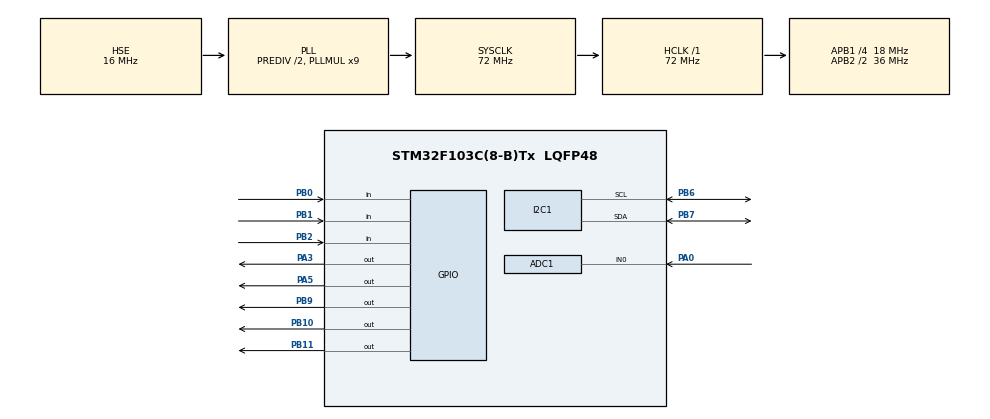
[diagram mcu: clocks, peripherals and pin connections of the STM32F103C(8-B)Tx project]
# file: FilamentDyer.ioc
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ADC1.Channel-0\#ChannelRegularConversion=ADC_CHANNEL_0
ADC1.NbrOfConversionFlag=1
ADC1.Rank-0\#ChannelRegularConversion=1
ADC1.SamplingTime-0\#ChannelRegularConversion=ADC_SAMPLETIME_1CYCLE_5
ADC1.master=1
I2C1.I2C_Mode=I2C_Fast
Mcu.Family=STM32F1
Mcu.Name=STM32F103C(8-B)Tx
Mcu.Package=LQFP48
NVIC.PriorityGroup=NVIC_PRIORITYGROUP_4
NVIC.TIM3_IRQn=true\:5\:0\:true\:false\:true\:true\:true\:true
NVIC.TIM4_IRQn=true\:15\:0\:false\:false\:true\:false\:true\:true
NVIC.TimeBase=TIM4_IRQn
NVIC.TimeBaseIP=TIM4
PA0-WKUP.Signal=ADCx_IN0
PA13.Mode=Serial_Wire
PA13.Signal=SYS_JTMS-SWDIO
PA14.Mode=Serial_Wire
PA14.Signal=SYS_JTCK-SWCLK
PA3.Signal=GPIO_Output
PA5.Signal=GPIO_Output
PB0.Signal=GPIO_Input
PB1.Signal=GPIO_Input
PB10.Signal=GPIO_Output
PB11.Signal=GPIO_Output
PB2.Signal=GPIO_Input
PB6.Mode=I2C
PB6.Signal=I2C1_SCL
PB7.Mode=I2C
PB7.Signal=I2C1_SDA
PB9.Signal=GPIO_Output
PD0-OSC_IN.Mode=HSE-External-Oscillator
PD0-OSC_IN.Signal=RCC_OSC_IN
PD1-OSC_OUT.Mode=HSE-External-Oscillator
PD1-OSC_OUT.Signal=RCC_OSC_OUT
ProjectManager.HeapSize=0x200
ProjectManager.StackSize=0x400
ProjectManager.TargetToolchain=STM32CubeIDE
RCC.ADCPresc=RCC_ADCPCLK2_DIV6
RCC.AHBFreq_Value=72000000
RCC.APB1CLKDivider=RCC_HCLK_DIV4
RCC.APB1Freq_Value=18000000
RCC.APB1TimFreq_Value=36000000
RCC.APB2CLKDivider=RCC_HCLK_DIV2
RCC.APB2Freq_Value=36000000
RCC.APB2TimFreq_Value=72000000
RCC.DATA_CACHE_ENABLE=0
RCC.HCLKFreq_Value=72000000
RCC.HSEDivPLL=RCC_HSE_PREDIV_DIV2
RCC.HSE_VALUE=16000000
RCC.HSI14CalibrationValue=16
RCC.INSTRUCTION_CACHE_ENABLE=0
RCC.PLLMUL=RCC_PLL_MUL9
RCC.PLLSourceVirtual=RCC_PLLSOURCE_HSE
RCC.SYSCLKFreq_VALUE=72000000
RCC.SYSCLKSource=RCC_SYSCLKSOURCE_PLLCLK
RCC.USBFreq_Value=72000000
SH.ADCx_IN0.0=ADC1_IN0,IN0
TIM3.Period=2823 - 1
TIM3.Prescaler=100
TIM3.TIM_MasterOutputTrigger=TIM_TRGO_RESET
VP_SYS_VS_tim4.Mode=TIM4
VP_TIM3_VS_ClockSourceINT.Mode=Internal
board=custom

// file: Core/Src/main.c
/* USER CODE BEGIN Header */
/**
  ******************************************************************************
  * @file           : main.c
  * @brief          : Main program body
  ******************************************************************************
  * @attention
  *
  * Copyright (c) 2024 STMicroelectronics.
  * All rights reserved.
  *
  * This software is licensed under terms that can be found in the LICENSE file
  * in the root directory of this software component.
  * If no LICENSE file comes with this software, it is provided AS-IS.
  *
  ******************************************************************************
  */
/* USER CODE END Header */
#include "main.h"

/* USER CODE BEGIN Includes */
#include "Thermistor.h"
#include "ssd1306.h"
#include "ssd1306_fonts.h"
#include "PID.h"
#include <stdbool.h>
/* USER CODE END Includes */

/* USER CODE BEGIN PD */

#define GPIO_LED GPIOB
#define PIN_LED_R GPIOB, GPIO_PIN_9
#define PIN_LED_G GPIOB, GPIO_PIN_10
#define PIN_LED_B GPIOB, GPIO_PIN_11

#define GPIO_BUTTON GPIOB
#define PIN_BUTTON_SELECT GPIOB, GPIO_PIN_0
#define PIN_BUTTON_LEFT GPIOB, GPIO_PIN_1
#define PIN_BUTTON_RIGHT GPIOB, GPIO_PIN_2

#define GPIO_HEATER GPIOA
#define PIN_HEATER GPIOA, GPIO_PIN_5
#define PIN_FAN GPIO_PIN_3

#define MAX_TEMP 80

#define DISP_FREQ 50 // Frequency of the display refreshing in milliseconds
#define CALC_FREQ 10 // Frequency of the thermal and input procesing in milliseconds.
/* USER CODE END PD */

ADC_HandleTypeDef hadc1;

I2C_HandleTypeDef hi2c1;

TIM_HandleTypeDef htim3;

/* USER CODE BEGIN PV */

typedef struct {
	uint8_t poll;
	uint32_t last_press;
} button;
#define INIT_BUTTON(X) button X = {.poll = 0, .last_press = 0}
INIT_BUTTON(button_left);
INIT_BUTTON(button_right);
INIT_BUTTON(button_select);

uint8_t PWM_Counter = 0;
uint8_t PWM_Value = 0;

float targetTemp = 0.0;

char *filament_names[] = {"PLA", "PETG/ABS", "Nylon"};
float filament_temps[] = {55.0f, 65.0f, 75.0f};
uint8_t menu_index = 0;
int menu_num = 0;
uint8_t menu_size = 0;

char text[10];

enum {
		MAIN_MENU,
		HEATING
} program_state;

uint32_t last_screen_update = 0, last_math_update = 0;
/* USER CODE END PV */

void SystemClock_Config(void);
static void MX_GPIO_Init(void);
static void MX_I2C1_Init(void);
static void MX_ADC1_Init(void);
static void MX_TIM3_Init(void);
/* USER CODE BEGIN PFP */

static inline void HEATERPWM_Process();
static inline void HEATERPWM_SET(uint16_t duty_cycle);
static inline bool is_pressed(button button);
static inline void update_screen();
static inline void update_inputs();
static inline void Therm_Process();
static inline uint32_t since_last(uint32_t last_time);

/* USER CODE END PFP */

int main(void)
{

  /* MCU Configuration--------------------------------------------------------*/

  /* Reset of all peripherals, Initializes the Flash interface and the Systick. */
  HAL_Init();

  /* Configure the system clock */
  SystemClock_Config();

  /* Initialize all configured peripherals */
  MX_GPIO_Init();
  MX_I2C1_Init();
  MX_ADC1_Init();
  MX_TIM3_Init();
  /* USER CODE BEGIN 2 */
  // Initialize TIM3 for low frequency PWM heater
  HAL_TIM_Base_Start_IT(&htim3);

  HAL_GPIO_WritePin(PIN_LED_R, GPIO_PIN_SET);
  HAL_GPIO_WritePin(PIN_LED_G, GPIO_PIN_SET);
  HAL_GPIO_WritePin(PIN_LED_B, GPIO_PIN_SET);

  HAL_Delay(1000); // Wait for power supply to stabilize
  HAL_ADCEx_Calibration_Start(&hadc1);

  Thermistor_Init();
  ssd1306_Init();

  // Menu Init.
  program_state = MAIN_MENU;
  menu_size = sizeof(filament_names)/sizeof(filament_names[0]);

  /* USER CODE END 2 */

  /* Infinite loop */
  /* USER CODE BEGIN WHILE */
  while (1)
  {
	  if(since_last(last_screen_update) >= DISP_FREQ) { // Update screen everyy 50ms
		  update_screen();
		  last_screen_update = HAL_GetTick();
	  }
	  if(since_last(last_math_update) >= CALC_FREQ ) { // Process inputs and set PWM output every 10ms
		  update_inputs();
		  Therm_Process();
		  last_math_update = HAL_GetTick();
	  }

    /* USER CODE END WHILE */

  }
}

void SystemClock_Config(void)
{
  RCC_OscInitTypeDef RCC_OscInitStruct = {0};
  RCC_ClkInitTypeDef RCC_ClkInitStruct = {0};
  RCC_PeriphCLKInitTypeDef PeriphClkInit = {0};

  /** Initializes the RCC Oscillators according to the specified parameters
  * in the RCC_OscInitTypeDef structure.
  */
  RCC_OscInitStruct.OscillatorType = RCC_OSCILLATORTYPE_HSE;
  RCC_OscInitStruct.HSEState = RCC_HSE_ON;
  RCC_OscInitStruct.HSEPredivValue = RCC_HSE_PREDIV_DIV2;
  RCC_OscInitStruct.HSIState = RCC_HSI_ON;
  RCC_OscInitStruct.PLL.PLLState = RCC_PLL_ON;
  RCC_OscInitStruct.PLL.PLLSource = RCC_PLLSOURCE_HSE;
  RCC_OscInitStruct.PLL.PLLMUL = RCC_PLL_MUL9;
  if (HAL_RCC_OscConfig(&RCC_OscInitStruct) != HAL_OK)
  {
    Error_Handler();
  }

  /** Initializes the CPU, AHB and APB buses clocks
  */
  RCC_ClkInitStruct.ClockType = RCC_CLOCKTYPE_HCLK|RCC_CLOCKTYPE_SYSCLK
                              |RCC_CLOCKTYPE_PCLK1|RCC_CLOCKTYPE_PCLK2;
  RCC_ClkInitStruct.SYSCLKSource = RCC_SYSCLKSOURCE_PLLCLK;
  RCC_ClkInitStruct.AHBCLKDivider = RCC_SYSCLK_DIV1;
  RCC_ClkInitStruct.APB1CLKDivider = RCC_HCLK_DIV4;
  RCC_ClkInitStruct.APB2CLKDivider = RCC_HCLK_DIV2;

  if (HAL_RCC_ClockConfig(&RCC_ClkInitStruct, FLASH_LATENCY_2) != HAL_OK)
  {
    Error_Handler();
  }
  PeriphClkInit.PeriphClockSelection = RCC_PERIPHCLK_ADC;
  PeriphClkInit.AdcClockSelection = RCC_ADCPCLK2_DIV6;
  if (HAL_RCCEx_PeriphCLKConfig(&PeriphClkInit) != HAL_OK)
  {
    Error_Handler();
  }
}

static void MX_ADC1_Init(void)
{

  ADC_ChannelConfTypeDef sConfig = {0};

  /** Common config
  */
  hadc1.Instance = ADC1;
  hadc1.Init.ScanConvMode = ADC_SCAN_DISABLE;
  hadc1.Init.ContinuousConvMode = DISABLE;
  hadc1.Init.DiscontinuousConvMode = DISABLE;
  hadc1.Init.ExternalTrigConv = ADC_SOFTWARE_START;
  hadc1.Init.DataAlign = ADC_DATAALIGN_RIGHT;
  hadc1.Init.NbrOfConversion = 1;
  if (HAL_ADC_Init(&hadc1) != HAL_OK)
  {
    Error_Handler();
  }

  /** Configure Regular Channel
  */
  sConfig.Channel = ADC_CHANNEL_0;
  sConfig.Rank = ADC_REGULAR_RANK_1;
  sConfig.SamplingTime = ADC_SAMPLETIME_1CYCLE_5;
  if (HAL_ADC_ConfigChannel(&hadc1, &sConfig) != HAL_OK)
  {
    Error_Handler();
  }

}

static void MX_I2C1_Init(void)
{

  hi2c1.Instance = I2C1;
  hi2c1.Init.ClockSpeed = 400000;
  hi2c1.Init.DutyCycle = I2C_DUTYCYCLE_2;
  hi2c1.Init.OwnAddress1 = 0;
  hi2c1.Init.AddressingMode = I2C_ADDRESSINGMODE_7BIT;
  hi2c1.Init.DualAddressMode = I2C_DUALADDRESS_DISABLE;
  hi2c1.Init.OwnAddress2 = 0;
  hi2c1.Init.GeneralCallMode = I2C_GENERALCALL_DISABLE;
  hi2c1.Init.NoStretchMode = I2C_NOSTRETCH_DISABLE;
  if (HAL_I2C_Init(&hi2c1) != HAL_OK)
  {
    Error_Handler();
  }

}

static void MX_TIM3_Init(void)
{

  TIM_ClockConfigTypeDef sClockSourceConfig = {0};
  TIM_MasterConfigTypeDef sMasterConfig = {0};

  htim3.Instance = TIM3;
  htim3.Init.Prescaler = 100;
  htim3.Init.CounterMode = TIM_COUNTERMODE_UP;
  htim3.Init.Period = 2823 - 1;
  htim3.Init.ClockDivision = TIM_CLOCKDIVISION_DIV1;
  htim3.Init.AutoReloadPreload = TIM_AUTORELOAD_PRELOAD_DISABLE;
  if (HAL_TIM_Base_Init(&htim3) != HAL_OK)
  {
    Error_Handler();
  }
  sClockSourceConfig.ClockSource = TIM_CLOCKSOURCE_INTERNAL;
  if (HAL_TIM_ConfigClockSource(&htim3, &sClockSourceConfig) != HAL_OK)
  {
    Error_Handler();
  }
  sMasterConfig.MasterOutputTrigger = TIM_TRGO_RESET;
  sMasterConfig.MasterSlaveMode = TIM_MASTERSLAVEMODE_DISABLE;
  if (HAL_TIMEx_MasterConfigSynchronization(&htim3, &sMasterConfig) != HAL_OK)
  {
    Error_Handler();
  }

}

static void MX_GPIO_Init(void)
{
  GPIO_InitTypeDef GPIO_InitStruct = {0};

  /* GPIO Ports Clock Enable */
  __HAL_RCC_GPIOD_CLK_ENABLE();
  __HAL_RCC_GPIOA_CLK_ENABLE();
  __HAL_RCC_GPIOB_CLK_ENABLE();

  /*Configure GPIO pin Output Level */
  HAL_GPIO_WritePin(GPIOA, GPIO_PIN_3|GPIO_PIN_5, GPIO_PIN_RESET);

  /*Configure GPIO pin Output Level */
  HAL_GPIO_WritePin(GPIOB, GPIO_PIN_10|GPIO_PIN_11|GPIO_PIN_9, GPIO_PIN_RESET);

  /*Configure GPIO pins : PA3 PA5 */
  GPIO_InitStruct.Pin = GPIO_PIN_3|GPIO_PIN_5;
  GPIO_InitStruct.Mode = GPIO_MODE_OUTPUT_PP;
  GPIO_InitStruct.Pull = GPIO_NOPULL;
  GPIO_InitStruct.Speed = GPIO_SPEED_FREQ_LOW;
  HAL_GPIO_Init(GPIOA, &GPIO_InitStruct);

  /*Configure GPIO pins : PB0 PB1 PB2 */
  GPIO_InitStruct.Pin = GPIO_PIN_0|GPIO_PIN_1|GPIO_PIN_2;
  GPIO_InitStruct.Mode = GPIO_MODE_INPUT;
  GPIO_InitStruct.Pull = GPIO_NOPULL;
  HAL_GPIO_Init(GPIOB, &GPIO_InitStruct);

  /*Configure GPIO pins : PB10 PB11 PB9 */
  GPIO_InitStruct.Pin = GPIO_PIN_10|GPIO_PIN_11|GPIO_PIN_9;
  GPIO_InitStruct.Mode = GPIO_MODE_OUTPUT_PP;
  GPIO_InitStruct.Pull = GPIO_NOPULL;
  GPIO_InitStruct.Speed = GPIO_SPEED_FREQ_LOW;
  HAL_GPIO_Init(GPIOB, &GPIO_InitStruct);

}

/* USER CODE BEGIN 4 */
void update_screen() {
	  long uint32_t =  HAL_GetTick();

    // Heating Menu
	  if(program_state == HEATING) {
		  ssd1306_Fill(Black);
		  float temp = Thermistor_get_temp();
		  snprintf(text, 10, "%.2f/%.0f", Thermistor_get_temp(), targetTemp);
		  ssd1306_SetCursor(1, 1);
		  ssd1306_WriteString("Temp: ",Font_6x8, White);
		  ssd1306_SetCursor(50, 1);
		  if(temp < -30 || temp > 100) {
			  ssd1306_WriteString("THERM_ERROR", Font_6x8, White);
		  } else {
			  ssd1306_WriteString(text, Font_6x8, White);
		  }

		  snprintf(text, 10, "%.2f%%", PWM_Value / 255.0);
		  ssd1306_SetCursor(1, 10);
		  ssd1306_WriteString("Heater: ",Font_6x8, White);
		  ssd1306_SetCursor(50, 10);
		  ssd1306_WriteString(text, Font_6x8, White);

    // Main Menu
	  } else if (program_state == MAIN_MENU) {

		  ssd1306_Fill(Black);
		  ssd1306_SetCursor(0,0);
		  ssd1306_WriteString("Material:", Font_6x8, White);

		  ssd1306_SetCursor((128/2) - (strlen(filament_names[menu_index]) * 11/2), ((32/2) - (18/2)) + 1);
		  ssd1306_WriteString(filament_names[menu_index], Font_11x18, White);

		  ssd1306_SetCursor((128/2) + (strlen(filament_names[menu_index]) * 11/2) + 2, ((32/2) - (18/2)) + 1);
		  char text[4];
		  snprintf(text, 4, "%.0f°", filament_temps[menu_index]);
		  ssd1306_WriteString(text, Font_7x10, White);
	  }

	  ssd1306_UpdateScreen();
}

void update_inputs() {

	button_left.poll <<= 1;
	button_select.poll  <<= 1;
	button_right.poll   <<= 1;

	button_left.poll  |= HAL_GPIO_ReadPin(PIN_BUTTON_LEFT); // wrong button soldered on LEFT
	button_select.poll  |=   !HAL_GPIO_ReadPin(PIN_BUTTON_SELECT);
	button_right.poll  |=  !HAL_GPIO_ReadPin(PIN_BUTTON_RIGHT);

	if(is_pressed(button_right)) {
		if(HAL_GetTick() - button_right.last_press > 60){
			menu_index++;
			if(menu_index >= menu_size) {
				menu_index = 0;
			}
		}

		button_right.last_press = HAL_GetTick();
	}

	if(is_pressed(button_left)) {
	if(HAL_GetTick() - button_left.last_press > 60){
		if(menu_index == 0) {
			menu_index = menu_size - 1;
		} else {
			menu_index--;
		}
	}
		button_left.last_press = HAL_GetTick();
	}
	if(is_pressed(button_select)) {
		if(HAL_GetTick() - button_select.last_press > 60){
			program_state = !program_state;
			targetTemp = filament_temps[menu_index];
		}
		button_select.last_press = HAL_GetTick();
	}
}

void Therm_Process() {
		HAL_ADC_Start(&hadc1);
		  HAL_ADC_PollForConversion(&hadc1,HAL_MAX_DELAY);
		  Thermistor_Process(HAL_ADC_GetValue(&hadc1));
		  float temp = Thermistor_get_temp();

		  if(temp < -30  ||  temp > MAX_TEMP || program_state == MAIN_MENU) {
			 PWM_Value = 0;
		  } else {
			  PWM_Value = 255.0 * PID_GetDutyCycle(temp, targetTemp);
		  }

}

bool is_pressed(button  button) {
	return (button.poll & 0xF) == 0xF;
}

uint32_t since_last(uint32_t last_time) {
	uint32_t now = HAL_GetTick();
	if (last_time > now) {
		return now + (UINT32_MAX  - last_time);
	} else {
		return now - last_time;
	}
}
/* USER CODE END 4 */

void HAL_TIM_PeriodElapsedCallback(TIM_HandleTypeDef *htim)
{
  /* USER CODE BEGIN Callback 0 */
  if (htim == &htim3 )
  {
	  PWM_Counter++; // Considering that the counter is an 8-bit integer, it will overflow naturally.
//	  if(PWM_Counter > 255) {
//		  PWM_Counter = 0;
//	  }
	if(PWM_Counter <= PWM_Value) {
		HAL_GPIO_WritePin(PIN_HEATER, GPIO_PIN_SET);
		HAL_GPIO_WritePin(PIN_LED_B, GPIO_PIN_RESET);
	} else {
		HAL_GPIO_WritePin(PIN_HEATER, GPIO_PIN_RESET);
		HAL_GPIO_WritePin(PIN_LED_B, GPIO_PIN_SET);
	}
  }

  /* USER CODE END Callback 0 */
  if (htim->Instance == TIM4) {
    HAL_IncTick();
  }
}

void Error_Handler(void)
{
  __disable_irq();
  while (1)
  {
  }
}
